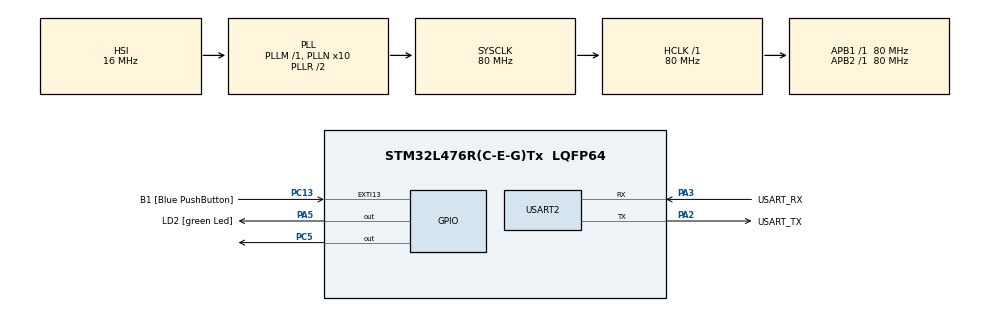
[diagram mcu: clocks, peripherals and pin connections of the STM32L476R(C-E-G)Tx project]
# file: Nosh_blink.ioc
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Mcu.Family=STM32L4
Mcu.Name=STM32L476R(C-E-G)Tx
Mcu.Package=LQFP64
NVIC.PriorityGroup=NVIC_PRIORITYGROUP_4
PA13\ (JTMS-SWDIO).GPIO_Label=TMS
PA13\ (JTMS-SWDIO).Mode=Serial_Wire
PA13\ (JTMS-SWDIO).Signal=SYS_JTMS-SWDIO
PA14\ (JTCK-SWCLK).GPIO_Label=TCK
PA14\ (JTCK-SWCLK).Mode=Serial_Wire
PA14\ (JTCK-SWCLK).Signal=SYS_JTCK-SWCLK
PA2.GPIO_Label=USART_TX
PA2.GPIO_Mode=GPIO_MODE_AF_PP
PA2.GPIO_PuPd=GPIO_NOPULL
PA2.GPIO_Speed=GPIO_SPEED_FREQ_VERY_HIGH
PA2.Mode=Asynchronous
PA2.Signal=USART2_TX
PA3.GPIO_Label=USART_RX
PA3.GPIO_Mode=GPIO_MODE_AF_PP
PA3.GPIO_PuPd=GPIO_NOPULL
PA3.GPIO_Speed=GPIO_SPEED_FREQ_VERY_HIGH
PA3.Mode=Asynchronous
PA3.Signal=USART2_RX
PA5.GPIO_Label=LD2 [green Led]
PA5.GPIO_ModeDefaultOutputPP=GPIO_MODE_OUTPUT_PP
PA5.GPIO_PuPd=GPIO_NOPULL
PA5.GPIO_Speed=GPIO_SPEED_FREQ_LOW
PA5.Signal=GPIO_Output
PB3\ (JTDO-TRACESWO).GPIO_Label=SWO
PB3\ (JTDO-TRACESWO).Signal=SYS_JTDO-SWO
PC13.GPIO_Label=B1 [Blue PushButton]
PC13.GPIO_ModeDefaultEXTI=GPIO_MODE_IT_FALLING
PC13.GPIO_PuPd=GPIO_NOPULL
PC13.Signal=GPXTI13
PC14-OSC32_IN\ (PC14).Mode=LSE-External-Oscillator
PC14-OSC32_IN\ (PC14).Signal=RCC_OSC32_IN
PC15-OSC32_OUT\ (PC15).Mode=LSE-External-Oscillator
PC15-OSC32_OUT\ (PC15).Signal=RCC_OSC32_OUT
PC5.Signal=GPIO_Output
PH0-OSC_IN\ (PH0).Signal=RCC_OSC_IN
PH1-OSC_OUT\ (PH1).Signal=RCC_OSC_OUT
ProjectManager.HeapSize=0x200
ProjectManager.StackSize=0x400
ProjectManager.TargetToolchain=STM32CubeIDE
RCC.ADCFreq_Value=64000000
RCC.AHBFreq_Value=80000000
RCC.APB1Freq_Value=80000000
RCC.APB1TimFreq_Value=80000000
RCC.APB2Freq_Value=80000000
RCC.APB2TimFreq_Value=80000000
RCC.CortexFreq_Value=80000000
RCC.HCLKFreq_Value=80000000
RCC.HSE_VALUE=8000000
RCC.HSI_VALUE=16000000
RCC.MSI_VALUE=4000000
RCC.PLLN=10
RCC.PLLSourceVirtual=RCC_PLLSOURCE_HSI
RCC.PREFETCH_ENABLE=1
RCC.SYSCLKFreq_VALUE=80000000
RCC.SYSCLKSource=RCC_SYSCLKSOURCE_PLLCLK
RCC.USBFreq_Value=64000000
RCC.VCOOutputFreq_Value=160000000
USART2.VirtualMode-Asynchronous=VM_ASYNC
board=NUCLEO-L476RG

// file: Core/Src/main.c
/* USER CODE BEGIN Header */
/**
  ******************************************************************************
  * @file           : main.c
  * @brief          : Main program body
  ******************************************************************************
  * @attention
  *
  * Copyright (c) 2025 STMicroelectronics.
  * All rights reserved.
  *
  * This software is licensed under terms that can be found in the LICENSE file
  * in the root directory of this software component.
  * If no LICENSE file comes with this software, it is provided AS-IS.
  *
  ******************************************************************************
  */
/* USER CODE END Header */
#include "main.h"

UART_HandleTypeDef huart2;

/* USER CODE BEGIN PV */
volatile uint8_t mode = 0;
volatile uint32_t led_delay_ms = 0;
/* USER CODE END PV */

void SystemClock_Config(void);
static void MX_GPIO_Init(void);
static void MX_USART2_UART_Init(void);

/* USER CODE BEGIN 0 */
void EXTI15_10_IRQHandler(void) {
    HAL_GPIO_EXTI_IRQHandler(GPIO_PIN_13);
}

void HAL_GPIO_EXTI_Callback(uint16_t GPIO_Pin) {
    if (GPIO_Pin == GPIO_PIN_13) {
    	 mode = (mode + 1) % 4;
    	        switch (mode) {
    	            case 0: // OFF (start)
    	                led_delay_ms = 0;
    	                HAL_GPIO_WritePin(GPIOA, GPIO_PIN_5, GPIO_PIN_RESET);
    	                break;
    	            case 1: // 0.5Hz
    	                led_delay_ms = 1000;
    	                break;
    	            case 2: // 1Hz
    	                led_delay_ms = 500;
    	                break;
    	            case 3: // 2Hz
    	                led_delay_ms = 250;
    	                break;
        }
    }
}
/* USER CODE END 0 */

int main(void)
{

  /* MCU Configuration--------------------------------------------------------*/

  /* Reset of all peripherals, Initializes the Flash interface and the Systick. */
  HAL_Init();

  /* Configure the system clock */
  SystemClock_Config();

  /* Initialize all configured peripherals */
  MX_GPIO_Init();
  MX_USART2_UART_Init();

  /* Infinite loop */
  while (1)
  {
	  if (led_delay_ms > 0) {
		  HAL_GPIO_TogglePin(GPIOA, GPIO_PIN_5);
		  HAL_Delay(led_delay_ms);
	  } else {
		  HAL_PWR_EnterSLEEPMode(PWR_MAINREGULATOR_ON, PWR_SLEEPENTRY_WFI);
	  }
  }
}

void SystemClock_Config(void)
{
  RCC_OscInitTypeDef RCC_OscInitStruct = {0};
  RCC_ClkInitTypeDef RCC_ClkInitStruct = {0};

  /** Configure the main internal regulator output voltage
  */
  if (HAL_PWREx_ControlVoltageScaling(PWR_REGULATOR_VOLTAGE_SCALE1) != HAL_OK)
  {
    Error_Handler();
  }

  /** Initializes the RCC Oscillators according to the specified parameters
  * in the RCC_OscInitTypeDef structure.
  */
  RCC_OscInitStruct.OscillatorType = RCC_OSCILLATORTYPE_HSI;
  RCC_OscInitStruct.HSIState = RCC_HSI_ON;
  RCC_OscInitStruct.HSICalibrationValue = RCC_HSICALIBRATION_DEFAULT;
  RCC_OscInitStruct.PLL.PLLState = RCC_PLL_ON;
  RCC_OscInitStruct.PLL.PLLSource = RCC_PLLSOURCE_HSI;
  RCC_OscInitStruct.PLL.PLLM = 1;
  RCC_OscInitStruct.PLL.PLLN = 10;
  RCC_OscInitStruct.PLL.PLLP = RCC_PLLP_DIV7;
  RCC_OscInitStruct.PLL.PLLQ = RCC_PLLQ_DIV2;
  RCC_OscInitStruct.PLL.PLLR = RCC_PLLR_DIV2;
  if (HAL_RCC_OscConfig(&RCC_OscInitStruct) != HAL_OK)
  {
    Error_Handler();
  }

  /** Initializes the CPU, AHB and APB buses clocks
  */
  RCC_ClkInitStruct.ClockType = RCC_CLOCKTYPE_HCLK|RCC_CLOCKTYPE_SYSCLK
                              |RCC_CLOCKTYPE_PCLK1|RCC_CLOCKTYPE_PCLK2;
  RCC_ClkInitStruct.SYSCLKSource = RCC_SYSCLKSOURCE_PLLCLK;
  RCC_ClkInitStruct.AHBCLKDivider = RCC_SYSCLK_DIV1;
  RCC_ClkInitStruct.APB1CLKDivider = RCC_HCLK_DIV1;
  RCC_ClkInitStruct.APB2CLKDivider = RCC_HCLK_DIV1;

  if (HAL_RCC_ClockConfig(&RCC_ClkInitStruct, FLASH_LATENCY_4) != HAL_OK)
  {
    Error_Handler();
  }
}

static void MX_USART2_UART_Init(void)
{

  huart2.Instance = USART2;
  huart2.Init.BaudRate = 115200;
  huart2.Init.WordLength = UART_WORDLENGTH_8B;
  huart2.Init.StopBits = UART_STOPBITS_1;
  huart2.Init.Parity = UART_PARITY_NONE;
  huart2.Init.Mode = UART_MODE_TX_RX;
  huart2.Init.HwFlowCtl = UART_HWCONTROL_NONE;
  huart2.Init.OverSampling = UART_OVERSAMPLING_16;
  huart2.Init.OneBitSampling = UART_ONE_BIT_SAMPLE_DISABLE;
  huart2.AdvancedInit.AdvFeatureInit = UART_ADVFEATURE_NO_INIT;
  if (HAL_UART_Init(&huart2) != HAL_OK)
  {
    Error_Handler();
  }

}

static void MX_GPIO_Init(void)
{
  GPIO_InitTypeDef GPIO_InitStruct = {0};

  /* GPIO Ports Clock Enable */
  __HAL_RCC_GPIOC_CLK_ENABLE();
  __HAL_RCC_GPIOH_CLK_ENABLE();
  __HAL_RCC_GPIOA_CLK_ENABLE();
  __HAL_RCC_GPIOB_CLK_ENABLE();

  /*Configure GPIO pin Output Level */
  HAL_GPIO_WritePin(LD2_GPIO_Port, LD2_Pin, GPIO_PIN_RESET);

  /*Configure GPIO pin Output Level */
  HAL_GPIO_WritePin(GPIOC, GPIO_PIN_5, GPIO_PIN_RESET);

  /*Configure GPIO pin : B1_Pin */
  GPIO_InitStruct.Pin = GPIO_PIN_13;
  GPIO_InitStruct.Mode = GPIO_MODE_IT_FALLING;
  GPIO_InitStruct.Pull = GPIO_PULLUP;
  HAL_GPIO_Init(B1_GPIO_Port, &GPIO_InitStruct);

  /*Configure GPIO pin : LD2_Pin */
  GPIO_InitStruct.Pin = LD2_Pin;
  GPIO_InitStruct.Mode = GPIO_MODE_OUTPUT_PP;
  GPIO_InitStruct.Pull = GPIO_NOPULL;
  GPIO_InitStruct.Speed = GPIO_SPEED_FREQ_LOW;
  HAL_GPIO_Init(LD2_GPIO_Port, &GPIO_InitStruct);

  /*Configure GPIO pin : PC5 */
  GPIO_InitStruct.Pin = GPIO_PIN_5;
  GPIO_InitStruct.Mode = GPIO_MODE_OUTPUT_PP;
  GPIO_InitStruct.Pull = GPIO_NOPULL;
  GPIO_InitStruct.Speed = GPIO_SPEED_FREQ_LOW;
  HAL_GPIO_Init(GPIOC, &GPIO_InitStruct);

  /* USER CODE BEGIN MX_GPIO_Init_2 */
  HAL_NVIC_SetPriority(EXTI15_10_IRQn, 2, 0);
  HAL_NVIC_EnableIRQ(EXTI15_10_IRQn);
  /* USER CODE END MX_GPIO_Init_2 */
}

void Error_Handler(void)
{
  __disable_irq();
  while (1)
  {
  }
}
